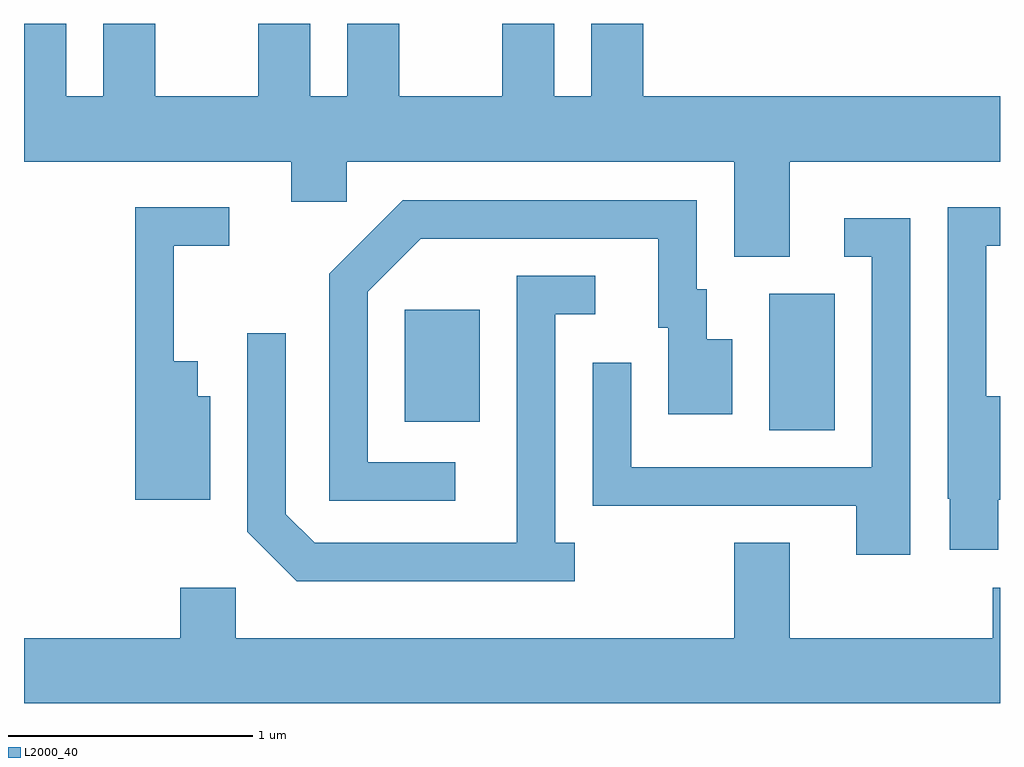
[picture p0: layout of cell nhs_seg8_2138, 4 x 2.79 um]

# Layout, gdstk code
import gdstk
lib = gdstk.Library(unit=1e-6, precision=1e-09)
def R(c, l, rs):  # rectangles x0, y0, x1, y1
    for r in rs: c.add(gdstk.rectangle(r[:2], r[2:], *l))
def P(c, l, *ps):  # polygons
    for p in ps: c.add(gdstk.Polygon(p, *l))
L2000_40 = (2000, 40)

nhs_seg8_2138 = lib.new_cell('nhs_seg8_2138')
R(nhs_seg8_2138, L2000_40, [(252.666,1808.676,252.934,1809.234), (251.171,1808.711,251.479,1809.169)])
P(nhs_seg8_2138, L2000_40, [(252.749,1809.776),(253.611,1809.776),(253.611,1810.044),(252.149,1810.044),(252.149,1810.342),(251.936,1810.342),(251.936,1810.044),(251.784,1810.044),(251.784,1810.342),(251.571,1810.342),(251.571,1810.044),(251.149,1810.044),(251.149,1810.342),(250.936,1810.342),(250.936,1810.044),(250.784,1810.044),(250.784,1810.342),(250.571,1810.342),(250.571,1810.044),(250.149,1810.044),(250.149,1810.342),(249.936,1810.342),(249.936,1810.044),(249.784,1810.044),(249.784,1810.342),(249.611,1810.342),(249.611,1809.776),(250.706,1809.776),(250.706,1809.611),(250.934,1809.611),(250.934,1809.776),(252.521,1809.776),(252.521,1809.386),(252.749,1809.386)],
  [(251.378,1808.544),(251.019,1808.544),(251.019,1809.244),(251.237,1809.461),(252.211,1809.461),(252.211,1809.096),(252.251,1809.096),(252.251,1808.741),(252.514,1808.741),(252.514,1809.049),(252.409,1809.049),(252.409,1809.254),(252.369,1809.254),(252.369,1809.619),(251.164,1809.619),(250.861,1809.317),(250.861,1808.386),(251.378,1808.386)],
  [(250.374,1808.814),(250.324,1808.814),(250.324,1808.959),(250.224,1808.959),(250.224,1809.431),(250.453,1809.431),(250.453,1809.589),(250.066,1809.589),(250.066,1808.391),(250.374,1808.391)],
  [(253.604,1808.391),(253.611,1808.391),(253.611,1808.814),(253.554,1808.814),(253.554,1809.431),(253.611,1809.431),(253.611,1809.589),(253.396,1809.589),(253.396,1808.395),(253.406,1808.395),(253.406,1808.186),(253.604,1808.186)],
  [(253.244,1809.544),(252.973,1809.544),(252.973,1809.386),(253.086,1809.386),(253.086,1808.524),(252.099,1808.524),(252.099,1808.953),(251.941,1808.953),(251.941,1808.366),(253.021,1808.366),(253.021,1808.166),(253.244,1808.166)],
  [(251.868,1808.214),(251.789,1808.214),(251.789,1809.151),(251.953,1809.151),(251.953,1809.309),(251.631,1809.309),(251.631,1808.214),(250.802,1808.214),(250.684,1808.332),(250.684,1809.073),(250.526,1809.073),(250.526,1808.259),(250.729,1808.056),(251.868,1808.056)],
  [(253.611,1808.029),(253.581,1808.029),(253.581,1807.824),(252.749,1807.824),(252.749,1808.214),(252.521,1808.214),(252.521,1807.824),(250.479,1807.824),(250.479,1808.029),(250.251,1808.029),(250.251,1807.824),(249.611,1807.824),(249.611,1807.556),(253.611,1807.556)])

lib.write_gds('nhs_seg8_2138.gds')
